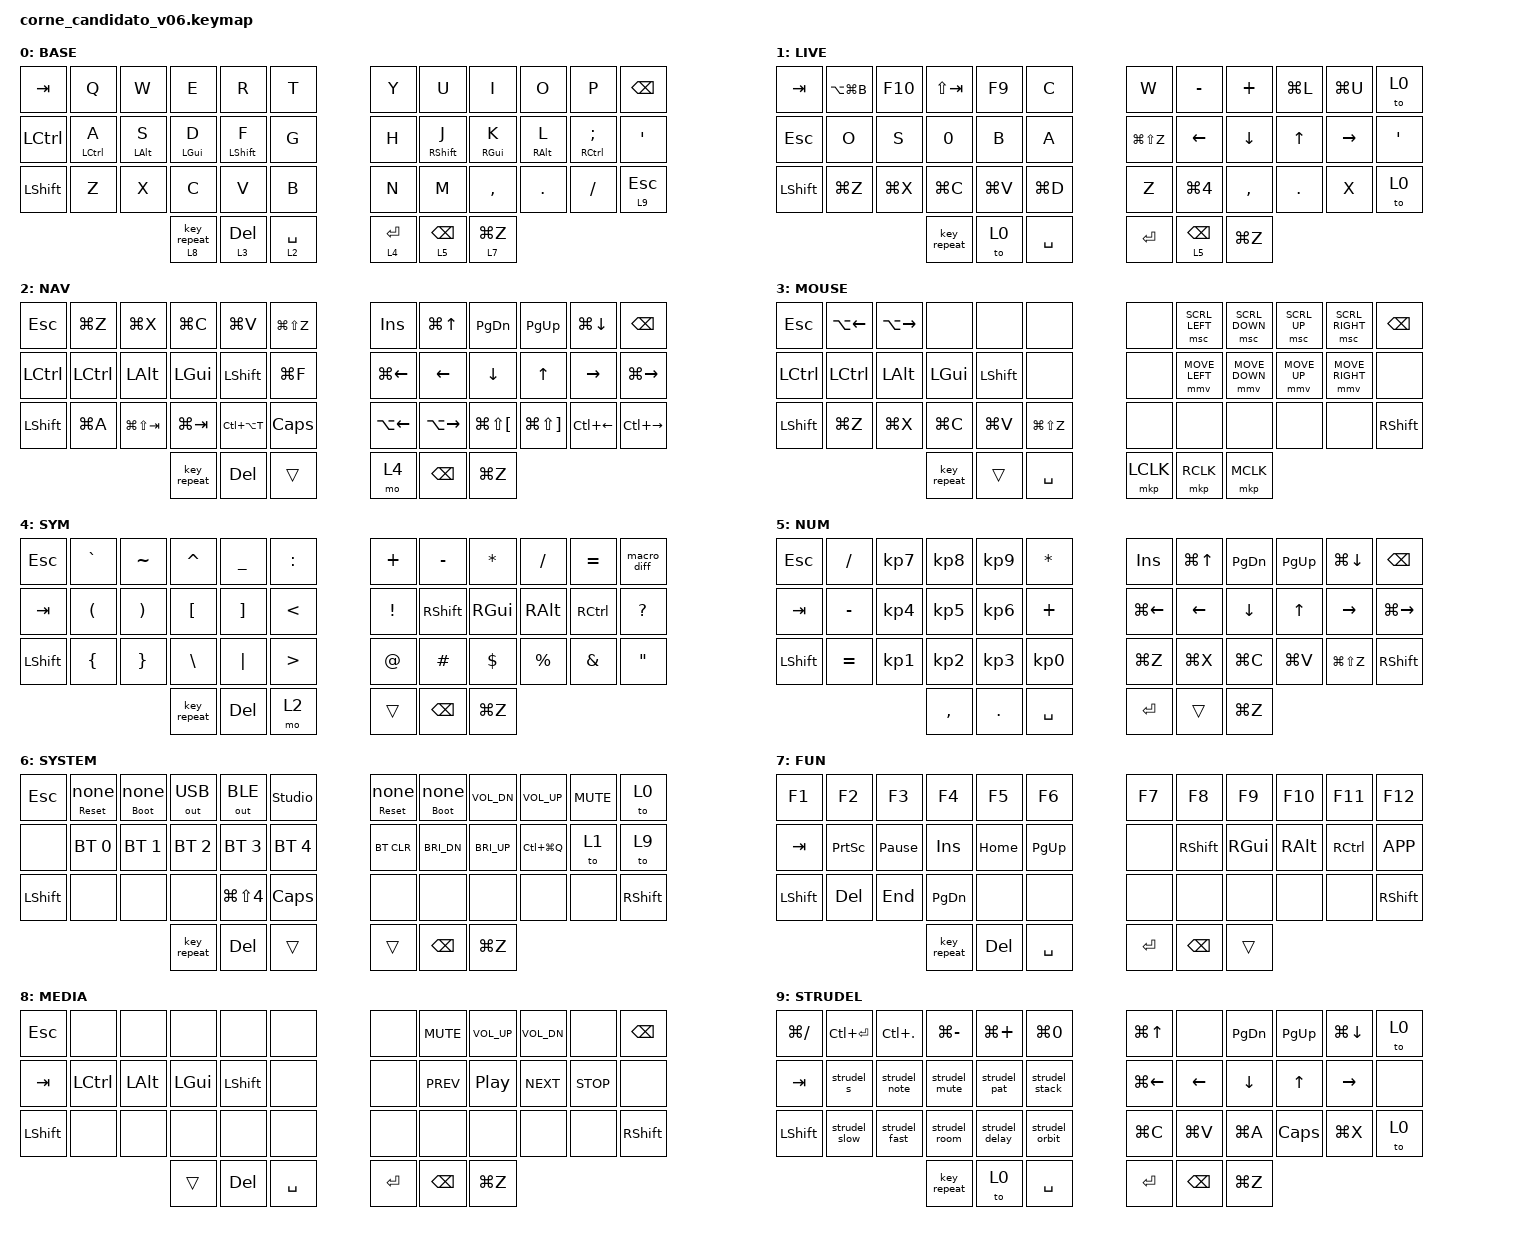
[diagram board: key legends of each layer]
/*
 * CORNE 42 (ZMK) — CANDIDATO (ksm-work/generators/generate_corne_candidato.py)
 * Hash canônico do dataset: cab6ba746107d9ee15f98cfd10614c09f5ecede9815913ced756316a2e405bd3
 * Versão: v06_consolidada | Arquivo: keymap_data_v06.json
 * Precedência: alterações salvas no ZMK Studio prevalecem sobre mapa compilado.
 */

#include <behaviors.dtsi>
#include <dt-bindings/zmk/keys.h>
#include <dt-bindings/zmk/bt.h>
#include <dt-bindings/zmk/outputs.h>
#include <dt-bindings/zmk/pointing.h>

/ {
    behaviors {
        /* HRM Left (GACS) */
        hrm_l: home_row_mods_left {
            compatible = "zmk,behavior-hold-tap";
            #binding-cells = <2>;
            flavor = "balanced";
            tapping-term-ms = <280>;
            quick-tap-ms = <175>;
            require-prior-idle-ms = <150>;
            hold-trigger-key-positions = <6 7 8 9 10 11 18 19 20 21 22 23 30 31 32 33 34 35 39 40 41>;
            hold-trigger-on-release;
            bindings = <&kp &kp>;
            display-name = "HRM Left (GACS)";
        };

        /* HRM Right (GACS) */
        hrm_r: home_row_mods_right {
            compatible = "zmk,behavior-hold-tap";
            #binding-cells = <2>;
            flavor = "balanced";
            tapping-term-ms = <280>;
            quick-tap-ms = <175>;
            require-prior-idle-ms = <150>;
            hold-trigger-key-positions = <0 1 2 3 4 5 12 13 14 15 16 17 24 25 26 27 28 29 36 37 38>;
            hold-trigger-on-release;
            bindings = <&kp &kp>;
            display-name = "HRM Right (GACS)";
        };

        /* Repeat MEDIA (Dedão 36) */
        ht_rep_media: thumb_repeat_media {
            compatible = "zmk,behavior-hold-tap";
            #binding-cells = <2>;
            flavor = "balanced";
            tapping-term-ms = <200>;
            quick-tap-ms = <175>;
            bindings = <&mo &key_repeat>;
            display-name = "Repeat MEDIA (Dedão 36)";
        };

        /* Undo FUN (Dedão 41) */
        ht_undo_fun: thumb_undo_fun {
            compatible = "zmk,behavior-hold-tap";
            #binding-cells = <2>;
            flavor = "balanced";
            tapping-term-ms = <200>;
            quick-tap-ms = <175>;
            bindings = <&mo &kp>;
            display-name = "Undo FUN (Dedão 41)";
        };

        /* Hold Reset 2s Seguro */
        ht_rst: hold_reset {
            compatible = "zmk,behavior-hold-tap";
            #binding-cells = <2>;
            flavor = "tap-preferred";
            tapping-term-ms = <2000>;
            bindings = <&sys_reset &none>;
            display-name = "Hold Reset 2s Seguro";
        };

        /* Hold Bootloader 2s Seguro */
        ht_boot: hold_bootloader {
            compatible = "zmk,behavior-hold-tap";
            #binding-cells = <2>;
            flavor = "tap-preferred";
            tapping-term-ms = <2000>;
            bindings = <&bootloader &none>;
            display-name = "Hold Bootloader 2s Seguro";
        };

    };

    combos {
        compatible = "zmk,combos";
        combo_caps {
            timeout-ms = <50>;
            key-positions = <24 35>; /* Caps Lock (Shift esquerdo + Esc/L9 nas posicoes 24 e 35) */
            bindings = <&kp CAPS>;
            layers = <0>;
        };
        combo_cedilla {
            timeout-ms = <50>;
            key-positions = <27 32>; /* Cedilha ç (C + Vírgula) */
            bindings = <&kp LA(C)>;
            layers = <0>;
        };
    };

    macros {
        macro_diff: macro_diff {
            compatible = "zmk,behavior-macro";
            #binding-cells = <0>;
            wait-ms = <10>;
            tap-ms = <10>;
            display-name = "!=";
            bindings = <&kp EXCL &kp EQUAL>;
        };
        strudel_s: strudel_s {
            compatible = "zmk,behavior-macro";
            #binding-cells = <0>;
            wait-ms = <10>;
            tap-ms = <10>;
            display-name = "s(\"\")";
            bindings = <&kp S &kp LPAR &kp DQT &kp DQT &kp RPAR &kp LEFT &kp LEFT>;
        };
        strudel_note: strudel_note {
            compatible = "zmk,behavior-macro";
            #binding-cells = <0>;
            wait-ms = <10>;
            tap-ms = <10>;
            display-name = "note(\"\")";
            bindings = <&kp N &kp O &kp T &kp E &kp LPAR &kp DQT &kp DQT &kp RPAR &kp LEFT &kp LEFT>;
        };
        strudel_mute: strudel_mute {
            compatible = "zmk,behavior-macro";
            #binding-cells = <0>;
            wait-ms = <10>;
            tap-ms = <10>;
            display-name = "_$: ";
            bindings = <&kp UNDER &kp DLLR &kp COLON &kp SPACE>;
        };
        strudel_pat: strudel_pat {
            compatible = "zmk,behavior-macro";
            #binding-cells = <0>;
            wait-ms = <10>;
            tap-ms = <10>;
            display-name = "$: ";
            bindings = <&kp DLLR &kp COLON &kp SPACE>;
        };
        strudel_stack: strudel_stack {
            compatible = "zmk,behavior-macro";
            #binding-cells = <0>;
            wait-ms = <10>;
            tap-ms = <10>;
            display-name = "stack()";
            bindings = <&kp S &kp T &kp A &kp C &kp K &kp LPAR &kp RPAR &kp LEFT>;
        };
        strudel_slow: strudel_slow {
            compatible = "zmk,behavior-macro";
            #binding-cells = <0>;
            wait-ms = <10>;
            tap-ms = <10>;
            display-name = ".slow()";
            bindings = <&kp DOT &kp S &kp L &kp O &kp W &kp LPAR &kp RPAR &kp LEFT>;
        };
        strudel_fast: strudel_fast {
            compatible = "zmk,behavior-macro";
            #binding-cells = <0>;
            wait-ms = <10>;
            tap-ms = <10>;
            display-name = ".fast()";
            bindings = <&kp DOT &kp F &kp A &kp S &kp T &kp LPAR &kp RPAR &kp LEFT>;
        };
        strudel_room: strudel_room {
            compatible = "zmk,behavior-macro";
            #binding-cells = <0>;
            wait-ms = <10>;
            tap-ms = <10>;
            display-name = ".room()";
            bindings = <&kp DOT &kp R &kp O &kp O &kp M &kp LPAR &kp RPAR &kp LEFT>;
        };
        strudel_delay: strudel_delay {
            compatible = "zmk,behavior-macro";
            #binding-cells = <0>;
            wait-ms = <10>;
            tap-ms = <10>;
            display-name = ".delay()";
            bindings = <&kp DOT &kp D &kp E &kp L &kp A &kp Y &kp LPAR &kp RPAR &kp LEFT>;
        };
        strudel_orbit: strudel_orbit {
            compatible = "zmk,behavior-macro";
            #binding-cells = <0>;
            wait-ms = <10>;
            tap-ms = <10>;
            display-name = ".orbit()";
            bindings = <&kp DOT &kp O &kp R &kp B &kp I &kp T &kp LPAR &kp RPAR &kp LEFT>;
        };
    };

    conditional_layers {
        compatible = "zmk,conditional-layers";
        system_tri_layer {
            if-layers = <2 4>; /* Space (L2) + Enter (L4) simultâneos ativam L6 SYSTEM */
            then-layer = <6>;
        };
    };

    /* KEYMAP CANÔNICO: 42 teclas × 10 camadas */
    keymap {
        compatible = "zmk,keymap";

        /* L0: BASE (QWERTY) */
        layer_0 {
            display-name = "BASE";
            bindings = <
                &kp TAB          &kp Q            &kp W            &kp E            &kp R            &kp T    &kp Y            &kp U            &kp I            &kp O            &kp P            &kp BSPC
                &kp LCTRL        &hrm_l LCTRL A   &hrm_l LALT S    &hrm_l LGUI D    &hrm_l LSHFT F   &kp G    &kp H            &hrm_r RSHFT J   &hrm_r RGUI K    &hrm_r RALT L    &hrm_r RCTRL SEMI &kp SQT
                &kp LSHFT        &kp Z            &kp X            &kp C            &kp V            &kp B    &kp N            &kp M            &kp COMMA        &kp DOT          &kp FSLH         &lt 9 ESC
                          &ht_rep_media 8 0 &lt 3 DEL        &lt 2 SPACE    &lt 4 RET        &lt 5 BSPC       &ht_undo_fun 7 LG(Z)
            >;
        };

        /* L1: LIVE (Ableton Live 12) */
        layer_1 {
            display-name = "LIVE";
            bindings = <
                &kp TAB          &kp LA(LG(B))    &kp F10          &kp LS(TAB)      &kp F9           &kp C    &kp W            &kp MINUS        &kp PLUS         &kp LG(L)        &kp LG(U)        &to 0
                &kp ESC          &kp O            &kp S            &kp N0           &kp B            &kp A    &kp LG(LS(Z))    &kp LEFT         &kp DOWN         &kp UP           &kp RIGHT        &kp SQT
                &kp LSHFT        &kp LG(Z)        &kp LG(X)        &kp LG(C)        &kp LG(V)        &kp LG(D)    &kp Z            &kp LG(N4)       &kp COMMA        &kp DOT          &kp X            &to 0
                          &key_repeat      &to 0            &kp SPACE    &kp RET          &lt 5 BSPC       &kp LG(Z)
            >;
        };

        /* L2: NAV (Navegação & Edição) */
        layer_2 {
            display-name = "NAV";
            bindings = <
                &kp ESC          &kp LG(Z)        &kp LG(X)        &kp LG(C)        &kp LG(V)        &kp LG(LS(Z))    &kp INS          &kp LG(UP)       &kp PG_DN        &kp PG_UP        &kp LG(DOWN)     &kp BSPC
                &kp LCTRL        &kp LCTRL        &kp LALT         &kp LGUI         &kp LSHFT        &kp LG(F)    &kp LG(LEFT)     &kp LEFT         &kp DOWN         &kp UP           &kp RIGHT        &kp LG(RIGHT)
                &kp LSHFT        &kp LG(A)        &kp LG(LS(TAB))  &kp LG(TAB)      &kp LC(LA(T))    &kp CAPS    &kp LA(LEFT)     &kp LA(RIGHT)    &kp LG(LS(LBKT)) &kp LG(LS(RBKT)) &kp LC(LEFT)     &kp LC(RIGHT)
                          &key_repeat      &kp DEL          &trans    &mo 4            &kp BSPC         &kp LG(Z)
            >;
        };

        /* L3: MOUSE (Cursor & Scroll) */
        layer_3 {
            display-name = "MOUSE";
            bindings = <
                &kp ESC          &kp LA(LEFT)     &kp LA(RIGHT)    &none            &none            &none    &none            &msc SCRL_LEFT   &msc SCRL_DOWN   &msc SCRL_UP     &msc SCRL_RIGHT  &kp BSPC
                &kp LCTRL        &kp LCTRL        &kp LALT         &kp LGUI         &kp LSHFT        &none    &none            &mmv MOVE_LEFT   &mmv MOVE_DOWN   &mmv MOVE_UP     &mmv MOVE_RIGHT  &none
                &kp LSHFT        &kp LG(Z)        &kp LG(X)        &kp LG(C)        &kp LG(V)        &kp LG(LS(Z))    &none            &none            &none            &none            &none            &kp RSHFT
                          &key_repeat      &trans           &kp SPACE    &mkp LCLK        &mkp RCLK        &mkp MCLK
            >;
        };

        /* L4: SYM (Símbolos & Programação) */
        layer_4 {
            display-name = "SYM";
            bindings = <
                &kp ESC          &kp GRAVE        &kp TILDE        &kp CARET        &kp UNDER        &kp COLON    &kp PLUS         &kp MINUS        &kp ASTRK        &kp FSLH         &kp EQUAL        &macro_diff
                &kp TAB          &kp LPAR         &kp RPAR         &kp LBKT         &kp RBKT         &kp LT    &kp EXCL         &kp RSHFT        &kp RGUI         &kp RALT         &kp RCTRL        &kp QMARK
                &kp LSHFT        &kp LBRC         &kp RBRC         &kp BSLH         &kp PIPE         &kp GT    &kp AT           &kp HASH         &kp DLLR         &kp PRCNT        &kp AMPS         &kp DQT
                          &key_repeat      &kp DEL          &mo 2    &trans           &kp BSPC         &kp LG(Z)
            >;
        };

        /* L5: NUM (Teclado Numérico 3x3) */
        layer_5 {
            display-name = "NUM";
            bindings = <
                &kp ESC          &kp FSLH         &kp KP_N7        &kp KP_N8        &kp KP_N9        &kp ASTRK    &kp INS          &kp LG(UP)       &kp PG_DN        &kp PG_UP        &kp LG(DOWN)     &kp BSPC
                &kp TAB          &kp MINUS        &kp KP_N4        &kp KP_N5        &kp KP_N6        &kp PLUS    &kp LG(LEFT)     &kp LEFT         &kp DOWN         &kp UP           &kp RIGHT        &kp LG(RIGHT)
                &kp LSHFT        &kp EQUAL        &kp KP_N1        &kp KP_N2        &kp KP_N3        &kp KP_N0    &kp LG(Z)        &kp LG(X)        &kp LG(C)        &kp LG(V)        &kp LG(LS(Z))    &kp RSHFT
                          &kp COMMA        &kp DOT          &kp SPACE    &kp RET          &trans           &kp LG(Z)
            >;
        };

        /* L6: SYSTEM (Hardware, BLE & Studio) */
        layer_6 {
            display-name = "SYSTEM";
            bindings = <
                &kp ESC          &ht_rst 0 0      &ht_boot 0 0     &out OUT_USB     &out OUT_BLE     &studio_unlock    &ht_rst 0 0      &ht_boot 0 0     &kp C_VOL_DN     &kp C_VOL_UP     &kp C_MUTE       &to 0
                &none            &bt BT_SEL 0     &bt BT_SEL 1     &bt BT_SEL 2     &bt BT_SEL 3     &bt BT_SEL 4    &bt BT_CLR       &kp C_BRI_DN     &kp C_BRI_UP     &kp LC(LG(Q))    &to 1            &to 9
                &kp LSHFT        &none            &none            &none            &kp LG(LS(N4))   &kp CAPS    &none            &none            &none            &none            &none            &kp RSHFT
                          &key_repeat      &kp DEL          &trans    &trans           &kp BSPC         &kp LG(Z)
            >;
        };

        /* L7: FUN (Teclas F1–F12 & Sistema) */
        layer_7 {
            display-name = "FUN";
            bindings = <
                &kp F1           &kp F2           &kp F3           &kp F4           &kp F5           &kp F6    &kp F7           &kp F8           &kp F9           &kp F10          &kp F11          &kp F12
                &kp TAB          &kp PSCRN        &kp PAUSE_BREAK  &kp INS          &kp HOME         &kp PG_UP    &none            &kp RSHFT        &kp RGUI         &kp RALT         &kp RCTRL        &kp K_APP
                &kp LSHFT        &kp DEL          &kp END          &kp PG_DN        &none            &none    &none            &none            &none            &none            &none            &kp RSHFT
                          &key_repeat      &kp DEL          &kp SPACE    &kp RET          &kp BSPC         &trans
            >;
        };

        /* L8: MEDIA (Controles de Mídia) */
        layer_8 {
            display-name = "MEDIA";
            bindings = <
                &kp ESC          &none            &none            &none            &none            &none    &none            &kp C_MUTE       &kp C_VOL_UP     &kp C_VOL_DN     &none            &kp BSPC
                &kp TAB          &kp LCTRL        &kp LALT         &kp LGUI         &kp LSHFT        &none    &none            &kp C_PREV       &kp C_PLAY_PAUSE &kp C_NEXT       &kp C_STOP       &none
                &kp LSHFT        &none            &none            &none            &none            &none    &none            &none            &none            &none            &none            &kp RSHFT
                          &trans           &kp DEL          &kp SPACE    &kp RET          &kp BSPC         &kp LG(Z)
            >;
        };

        /* L9: STRUDEL (Live Coding Musical) */
        layer_9 {
            display-name = "STRUDEL";
            bindings = <
                &kp LG(FSLH)     &kp LC(RET)      &kp LC(DOT)      &kp LG(MINUS)    &kp LG(PLUS)     &kp LG(N0)    &kp LG(UP)       &none            &kp PG_DN        &kp PG_UP        &kp LG(DOWN)     &to 0
                &kp TAB          &strudel_s       &strudel_note    &strudel_mute    &strudel_pat     &strudel_stack    &kp LG(LEFT)     &kp LEFT         &kp DOWN         &kp UP           &kp RIGHT        &none
                &kp LSHFT        &strudel_slow    &strudel_fast    &strudel_room    &strudel_delay   &strudel_orbit    &kp LG(C)        &kp LG(V)        &kp LG(A)        &kp CAPS         &kp LG(X)        &to 0
                          &key_repeat      &to 0            &kp SPACE    &kp RET          &kp BSPC         &kp LG(Z)
            >;
        };

    };
};
